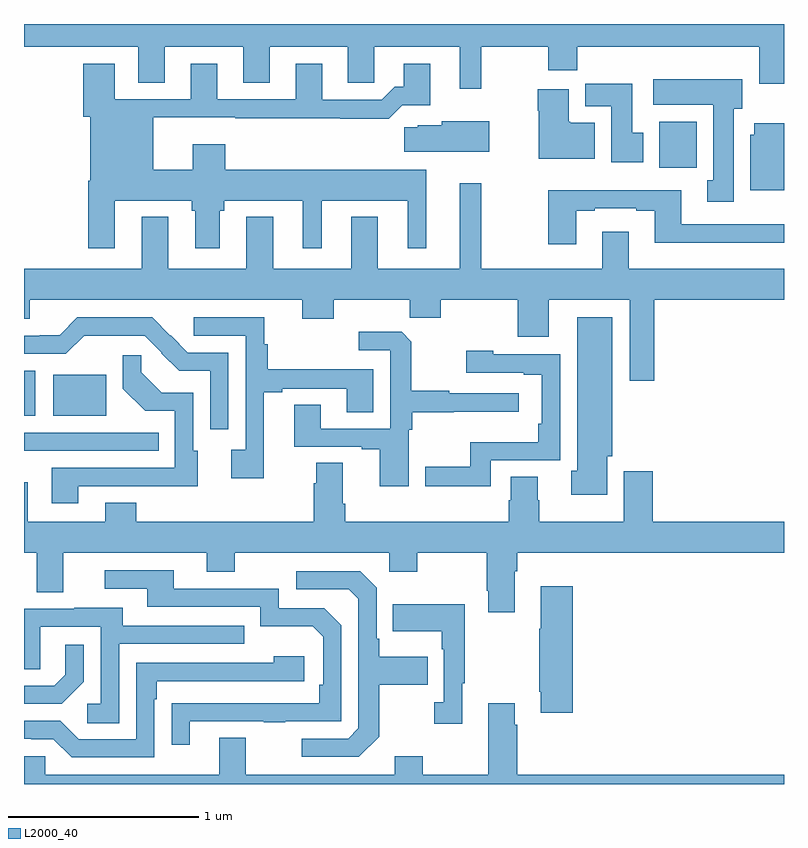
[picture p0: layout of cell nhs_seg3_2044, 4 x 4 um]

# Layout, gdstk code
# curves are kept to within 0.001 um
import gdstk
lib = gdstk.Library(unit=1e-6, precision=1e-09)
def R(c, l, rs):  # rectangles x0, y0, x1, y1
    for r in rs: c.add(gdstk.rectangle(r[:2], r[2:], *l))
def P(c, l, *ps):  # polygons
    for p in ps: c.add(gdstk.Polygon(p, *l))
L2000_40 = (2000, 40)

nhs_seg3_2044 = lib.new_cell('nhs_seg3_2044')
R(nhs_seg3_2044, L2000_40, [(217,668.339,217.06,668.575), (217.154,668.339,217.432,668.554), (220.343,669.644,220.54,669.886)])
P(nhs_seg3_2044, L2000_40, [(219.407,670.28),(219.76,670.28),(219.76,670.156),(219.911,670.156),(219.911,670.28),(220.871,670.28),(220.871,670.086),(221,670.086),(221,670.4),(217,670.4),(217,670.28),(217.601,670.28),(217.601,670.09),(217.741,670.09),(217.741,670.28),(218.153,670.28),(218.153,670.09),(218.293,670.09),(218.293,670.28),(218.705,670.28),(218.705,670.09),(218.844,670.09),(218.844,670.28),(219.293,670.28),(219.293,670.059),(219.407,670.059)],
  [(217.477,669.47),(217.882,669.47),(217.882,669.417),(217.901,669.417),(217.901,669.219),(218.029,669.219),(218.029,669.417),(218.055,669.417),(218.055,669.47),(218.468,669.47),(218.468,669.219),(218.566,669.219),(218.566,669.47),(219.02,669.47),(219.02,669.219),(219.118,669.219),(219.118,669.634),(218.06,669.634),(218.06,669.766),(217.889,669.766),(217.889,669.634),(217.681,669.634),(217.681,669.908),(218.113,669.908),(218.113,669.904),(218.665,669.904),(218.665,669.902),(218.921,669.902),(218.991,669.972),(219.139,669.972),(219.139,670.192),(218.999,670.192),(218.999,670.069),(218.95,670.069),(218.883,670.002),(218.569,670.002),(218.569,670.192),(218.429,670.192),(218.429,670.005),(218.017,670.005),(218.017,670.192),(217.877,670.192),(217.877,670.005),(217.477,670.005),(217.477,670.192),(217.313,670.192),(217.313,669.912),(217.349,669.912),(217.349,669.574),(217.337,669.574),(217.337,669.219),(217.477,669.219)],
  [(220.735,669.954),(220.78,669.954),(220.78,670.108),(220.311,670.108),(220.311,669.974),(220.628,669.974),(220.628,669.578),(220.595,669.578),(220.595,669.465),(220.735,669.465)],
  [(220.258,669.828),(220.201,669.828),(220.201,670.086),(219.953,670.086),(219.953,669.968),(220.091,669.968),(220.091,669.672),(220.258,669.672)],
  [(220.003,669.88),(219.874,669.88),(219.874,669.886),(219.868,669.886),(219.868,670.057),(219.703,670.057),(219.703,669.944),(219.71,669.944),(219.71,669.692),(220.003,669.692)],
  [(219.448,669.889),(219.198,669.889),(219.198,669.868),(219.072,669.868),(219.072,669.857),(219,669.857),(219,669.728),(219.448,669.728)],
  [(221,669.877),(220.844,669.877),(220.844,669.816),(220.823,669.816),(220.823,669.524),(221,669.524)],
  [(219.407,669.562),(219.293,669.562),(219.293,669.112),(218.863,669.112),(218.863,669.385),(218.723,669.385),(218.723,669.112),(218.311,669.112),(218.311,669.385),(218.171,669.385),(218.171,669.112),(217.759,669.112),(217.759,669.385),(217.619,669.385),(217.619,669.112),(217,669.112),(217,668.85),(217.03,668.85),(217.03,668.948),(218.465,668.948),(218.465,668.849),(218.629,668.849),(218.629,668.948),(219.029,668.948),(219.029,668.855),(219.193,668.855),(219.193,668.948),(219.599,668.948),(219.599,668.754),(219.763,668.754),(219.763,668.948),(220.187,668.948),(220.187,668.523),(220.316,668.523),(220.316,668.948),(221,668.948),(221,669.112),(220.183,669.112),(220.183,669.307),(220.043,669.307),(220.043,669.112),(219.407,669.112)],
  [(219.907,669.417),(220.003,669.417),(220.003,669.429),(220.223,669.429),(220.223,669.417),(220.319,669.417),(220.319,669.248),(221,669.248),(221,669.345),(220.459,669.345),(220.459,669.526),(219.76,669.526),(219.76,669.24),(219.907,669.24)],
  [(220.069,668.124),(220.096,668.124),(220.096,668.857),(219.911,668.857),(219.911,668.048),(219.881,668.048),(219.881,667.922),(220.069,667.922)],
  [(218.076,668.67),(217.863,668.67),(217.675,668.856),(217.281,668.856),(217.187,668.762),(217.082,668.762),(217.082,668.76),(217,668.76),(217,668.664),(217.221,668.664),(217.316,668.759),(217.635,668.76),(217.725,668.67),(217.723,668.668),(217.817,668.574),(217.98,668.574),(217.98,668.268),(218.076,668.268)],
  [(218.263,668.461),(218.359,668.461),(218.359,668.481),(218.699,668.481),(218.699,668.356),(218.839,668.356),(218.839,668.582),(218.282,668.582),(218.282,668.714),(218.264,668.714),(218.264,668.856),(217.893,668.856),(217.893,668.76),(218.166,668.76),(218.166,668.158),(218.091,668.158),(218.091,668.01),(218.263,668.01)],
  [(219.024,668.264),(219.044,668.264),(219.044,668.356),(219.263,668.356),(219.263,668.36),(219.604,668.36),(219.604,668.457),(219.239,668.457),(219.239,668.47),(219.039,668.47),(219.039,668.727),(218.987,668.779),(218.763,668.779),(218.763,668.682),(218.928,668.682),(218.928,668.271),(218.563,668.271),(218.563,668.396),(218.423,668.396),(218.423,668.175),(218.777,668.175),(218.777,668.163),(218.873,668.163),(218.873,667.968),(219.024,667.968)],
  [(219.456,668.103),(219.822,668.103),(219.822,668.661),(219.471,668.661),(219.471,668.68),(219.327,668.68),(219.327,668.565),(219.629,668.565),(219.629,668.553),(219.726,668.553),(219.726,668.296),(219.706,668.296),(219.706,668.2),(219.348,668.2),(219.348,668.069),(219.111,668.069),(219.111,667.967),(219.456,667.967)],
  [(217.285,667.968),(217.915,667.967),(217.915,668.154),(217.89,668.154),(217.89,668.46),(217.724,668.46),(217.616,668.568),(217.616,668.656),(217.521,668.656),(217.521,668.48),(217.637,668.364),(217.794,668.364),(217.794,668.064),(217.145,668.064),(217.145,667.878),(217.285,667.878)],
  [(217.049,668.154),(217.709,668.154),(217.709,668.25),(217,668.25),(217,668.153),(217.049,668.153)],
  [(219.583,667.52),(219.596,667.52),(219.596,667.616),(221,667.616),(221,667.78),(220.31,667.78),(220.31,668.047),(220.157,668.047),(220.157,667.78),(219.711,667.78),(219.711,667.893),(219.703,667.893),(219.703,668.018),(219.563,668.018),(219.563,667.893),(219.551,667.893),(219.551,667.78),(218.69,667.78),(218.69,667.876),(218.677,667.876),(218.677,668.09),(218.537,668.09),(218.537,667.982),(218.525,667.982),(218.525,667.78),(217.591,667.78),(217.591,667.879),(217.427,667.879),(217.427,667.78),(217.021,667.78),(217.021,667.987),(217,667.987),(217,667.616),(217.067,667.616),(217.067,667.408),(217.207,667.408),(217.207,667.616),(217.961,667.616),(217.961,667.517),(218.109,667.517),(218.109,667.616),(218.922,667.616),(218.922,667.517),(219.069,667.517),(219.069,667.616),(219.436,667.616),(219.436,667.417),(219.443,667.417),(219.443,667.305),(219.583,667.305)],
  [(217.873,666.729),(218.263,666.729),(218.263,666.724),(218.375,666.724),(218.375,666.729),(218.67,666.729),(218.67,667.236),(218.58,667.326),(218.34,667.326),(218.34,667.428),(217.789,667.428),(217.789,667.524),(217.425,667.524),(217.425,667.428),(217.649,667.428),(217.649,667.332),(218.244,667.332),(218.244,667.229),(218.521,667.229),(218.574,667.176),(218.574,666.922),(218.554,666.922),(218.554,666.825),(217.777,666.824),(217.777,666.606),(217.873,666.606)],
  [(218.869,666.649),(218.869,666.922),(219.125,666.922),(219.125,667.069),(218.869,667.069),(218.869,667.165),(218.856,667.165),(218.856,667.434),(218.769,667.521),(218.433,667.521),(218.433,667.425),(218.709,667.425),(218.76,667.374),(218.76,666.693),(218.706,666.639),(218.463,666.639),(218.463,666.543),(218.763,666.543)],
  [(219.887,667.441),(219.719,667.441),(219.719,667.217),(219.712,667.217),(219.712,666.886),(219.719,666.886),(219.719,666.774),(219.887,666.774)],
  [(219.307,666.929),(219.319,666.929),(219.319,667.345),(218.941,667.345),(218.941,667.205),(219.198,667.205),(219.198,667.109),(219.21,667.109),(219.21,666.83),(219.159,666.83),(219.159,666.717),(219.307,666.717)],
  [(217.5,667.137),(218.159,667.137),(218.159,667.233),(217.519,667.233),(217.519,667.327),(217.265,667.327),(217.265,667.323),(217,667.323),(217,667.003),(217.086,667.003),(217.086,667.227),(217.404,667.227),(217.404,666.822),(217.332,666.822),(217.332,666.721),(217.5,666.721)],
  [(217.314,666.938),(217.314,667.132),(217.217,667.132),(217.217,666.975),(217.16,666.918),(217,666.918),(217,666.822),(217.198,666.822)],
  [(217.686,666.845),(217.699,666.845),(217.699,666.942),(218.476,666.942),(218.476,667.072),(218.315,667.072),(218.315,667.038),(217.59,667.038),(217.59,666.636),(217.287,666.636),(217.191,666.732),(217,666.732),(217,666.639),(217.037,666.639),(217.037,666.636),(217.155,666.636),(217.251,666.54),(217.686,666.54)],
  [(221,666.448),(219.596,666.448),(219.596,666.713),(219.583,666.713),(219.583,666.826),(219.443,666.826),(219.443,666.448),(219.099,666.448),(219.099,666.547),(218.951,666.547),(218.951,666.448),(218.167,666.448),(218.167,666.643),(218.027,666.643),(218.027,666.448),(217.113,666.448),(217.113,666.546),(217,666.546),(217,666.4),(221,666.4)])

lib.write_gds('nhs_seg3_2044.gds')
